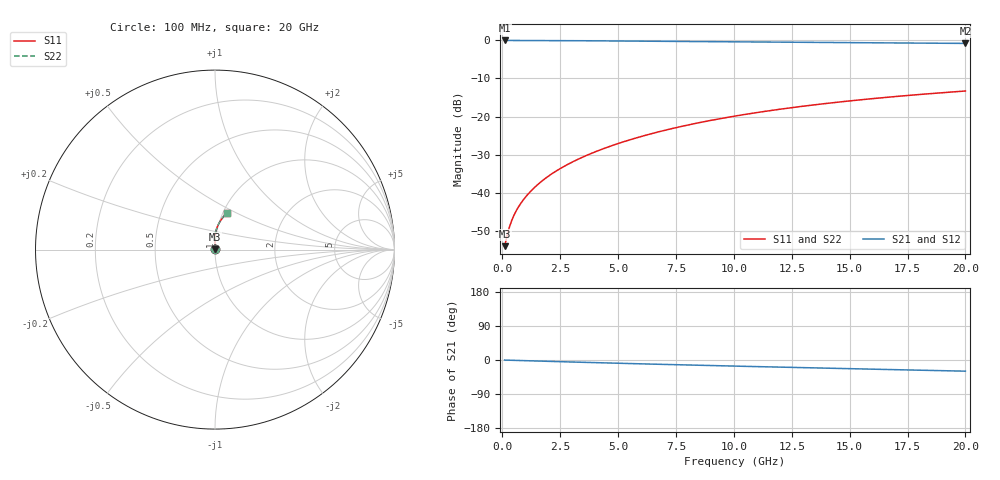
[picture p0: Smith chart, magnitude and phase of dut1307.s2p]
! Touchstone file exported from HFSS 2024.1.0
!  File:  C:/UserFiles/LocalFiles/RDL_TSV_Batchsim/temp_RDL_bottom_1307_1780368361.aedt
!  Generated:  10:48:31 AM Jun  2, 2026
!  Design:  RDL_bottom
!  Project:  temp_RDL_bottom_1307_1780368361
!  Setup:  Setup1
!  Solution:  Sweep
! Variables:
!  dtsv = 10.80580581um
!  hbump = 3um
!  htsv = 58.99um
!  ldown = 477.18um
!  lrdl = 100um
!  p = 40
!  p1 = 41.15um
!  rhole = 1um
!  t = 450um
!  tdown = 4.49um
!  trdl = 3.915915916um
!  wdown = 25.2um
!  wrdl = 20um
# GHz S MA R 50.000000
! Terminal data exported
! Port[1] = RDL1_T1
! Port[2] = RDL1_T2
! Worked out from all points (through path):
!   200 points, 100 MHz to 20 GHz, reference 50 ohm
!   highest |S21| = -0.01 dB at 100 MHz (marker M1); lowest = -0.8 dB at 20 GHz (marker M2)
!   group delay of S21, straight-line fit = 4.03 ps
!   lowest |S11| = -54.0 dB at 100 MHz (marker M3), VSWR 1.00, Z = 50.2 + j0.102 ohm
!   |S11| at or under -10 dB: start of sweep to end of sweep
!   |S22| runs from -54.0 to -13.3 dB; largest |S21 - S12| = 3e-15
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0.1  0.001987 30.7  0.9983 -0.2  0.9983 -0.2  0.001987 30.7
! Gamma 0 0 0 0
! Port Impedance 50 0 50 0
0.2  0.002686 47.5  0.9981 -0.4  0.9981 -0.4  0.002686 47.5
0.3  0.003477 56.0  0.9979 -0.6  0.9979 -0.6  0.003477 56.0
0.4  0.004263 61.0  0.9978 -0.7  0.9978 -0.7  0.004261 61.0
0.5  0.005027 64.5  0.9976 -0.9  0.9976 -0.9  0.005025 64.5
0.6  0.005775 67.2  0.9975 -1.1  0.9975 -1.1  0.005772 67.2
0.8  0.007253 71.5  0.9972 -1.4  0.9972 -1.4  0.00725 71.5
1.1  0.009492 76.1  0.9968 -2.0  0.9968 -2.0  0.009489 76.2
1.6  0.01336 81.2  0.9958 -2.9  0.9958 -2.9  0.01335 81.2
2.1  0.01739 84.5  0.9945 -3.7  0.9945 -3.7  0.01739 84.5
2.7  0.02246 87.1  0.9926 -4.8  0.9926 -4.8  0.02246 87.1
3.5  0.02961 89.2  0.9895 -6.1  0.9895 -6.1  0.02962 89.3
4.2  0.03624 90.4  0.9865 -7.3  0.9865 -7.3  0.03625 90.4
5  0.04422 91.0  0.9827 -8.6  0.9827 -8.6  0.04425 91.1
5.9  0.05369 91.2  0.9782 -10.0  0.9782 -10.0  0.05372 91.2
6.8  0.06358 90.8  0.9736 -11.4  0.9736 -11.4  0.06363 90.9
8.4  0.08195 89.5  0.9654 -13.8  0.9654 -13.8  0.08202 89.5
10.1  0.1021 87.3  0.957 -16.2  0.957 -16.2  0.1022 87.3
11.7  0.1213 84.9  0.9494 -18.4  0.9494 -18.4  0.1215 85.0
13.4  0.1417 82.2  0.9416 -20.8  0.9416 -20.8  0.1418 82.3
16.7  0.1801 76.8  0.9271 -25.2  0.9271 -25.2  0.1803 76.9
20  0.2165 71.6  0.9132 -29.5  0.9132 -29.5  0.2167 71.7
